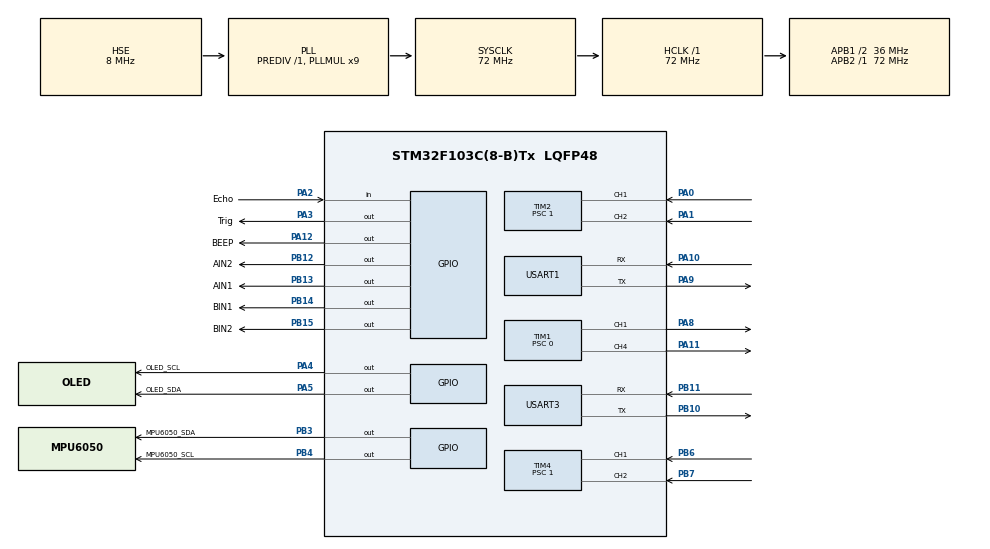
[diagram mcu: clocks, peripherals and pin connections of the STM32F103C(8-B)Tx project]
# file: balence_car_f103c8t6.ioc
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Mcu.Family=STM32F1
Mcu.Name=STM32F103C(8-B)Tx
Mcu.Package=LQFP48
NVIC.PriorityGroup=NVIC_PRIORITYGROUP_4
NVIC.TIM3_IRQn=true\:0\:0\:false\:false\:true\:true\:true
NVIC.USART3_IRQn=true\:0\:0\:false\:false\:true\:true\:true
PA0-WKUP.Signal=S_TIM2_CH1_ETR
PA1.Signal=S_TIM2_CH2
PA10.Mode=Asynchronous
PA10.Signal=USART1_RX
PA11.Signal=S_TIM1_CH4
PA12.GPIO_Label=BEEP
PA12.Signal=GPIO_Output
PA13.Mode=Serial_Wire
PA13.Signal=SYS_JTMS-SWDIO
PA14.Mode=Serial_Wire
PA14.Signal=SYS_JTCK-SWCLK
PA2.GPIO_Label=Echo
PA2.Signal=GPIO_Input
PA3.GPIO_Label=Trig
PA3.Signal=GPIO_Output
PA4.GPIO_Label=OLED_SCL
PA4.Signal=GPIO_Output
PA5.GPIO_Label=OLED_SDA
PA5.Signal=GPIO_Output
PA8.Signal=S_TIM1_CH1
PA9.Mode=Asynchronous
PA9.Signal=USART1_TX
PB10.Mode=Asynchronous
PB10.Signal=USART3_TX
PB11.Mode=Asynchronous
PB11.Signal=USART3_RX
PB12.GPIO_Label=AIN2
PB12.Signal=GPIO_Output
PB13.GPIO_Label=AIN1
PB13.Signal=GPIO_Output
PB14.GPIO_Label=BIN1
PB14.Signal=GPIO_Output
PB15.GPIO_Label=BIN2
PB15.Signal=GPIO_Output
PB3.GPIO_Label=MPU6050_SDA
PB3.GPIO_Speed=GPIO_SPEED_FREQ_HIGH
PB3.Signal=GPIO_Output
PB4.GPIO_Label=MPU6050_SCL
PB4.GPIO_Speed=GPIO_SPEED_FREQ_HIGH
PB4.Signal=GPIO_Output
PB6.Signal=S_TIM4_CH1
PB7.Signal=S_TIM4_CH2
PD0-OSC_IN.Mode=HSE-External-Oscillator
PD0-OSC_IN.Signal=RCC_OSC_IN
PD1-OSC_OUT.Mode=HSE-External-Oscillator
PD1-OSC_OUT.Signal=RCC_OSC_OUT
ProjectManager.HeapSize=0x200
ProjectManager.StackSize=0x400
ProjectManager.TargetToolchain=MDK-ARM V5.27
RCC.AHBFreq_Value=72000000
RCC.APB1CLKDivider=RCC_HCLK_DIV2
RCC.APB1Freq_Value=36000000
RCC.APB1TimFreq_Value=72000000
RCC.APB2Freq_Value=72000000
RCC.APB2TimFreq_Value=72000000
RCC.HCLKFreq_Value=72000000
RCC.PLLMUL=RCC_PLL_MUL9
RCC.PLLSourceVirtual=RCC_PLLSOURCE_HSE
RCC.SYSCLKFreq_VALUE=72000000
RCC.SYSCLKSource=RCC_SYSCLKSOURCE_PLLCLK
RCC.USBFreq_Value=72000000
SH.S_TIM1_CH1.0=TIM1_CH1,PWM Generation1 CH1
SH.S_TIM1_CH4.0=TIM1_CH4,PWM Generation4 CH4
SH.S_TIM2_CH1_ETR.0=TIM2_CH1,Encoder_Interface
SH.S_TIM2_CH2.0=TIM2_CH2,Encoder_Interface
SH.S_TIM4_CH1.0=TIM4_CH1,Encoder_Interface
SH.S_TIM4_CH2.0=TIM4_CH2,Encoder_Interface
TIM1.Channel-PWM\ Generation1\ CH1=TIM_CHANNEL_1
TIM1.Channel-PWM\ Generation4\ CH4=TIM_CHANNEL_4
TIM1.Period=7200-1
TIM1.Prescaler=0
TIM2.EncoderMode=TIM_ENCODERMODE_TI12
TIM2.IC1Filter=10
TIM2.IC2Filter=10
TIM2.Prescaler=1
TIM3.Period=1000-1
TIM3.Prescaler=72-1
TIM4.EncoderMode=TIM_ENCODERMODE_TI12
TIM4.IC1Filter=10
TIM4.IC2Filter=10
TIM4.Prescaler=1
USART1.VirtualMode=VM_ASYNC
USART3.VirtualMode=VM_ASYNC
VP_TIM3_VS_ClockSourceINT.Mode=Internal
board=custom

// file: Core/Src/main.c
/* USER CODE BEGIN Header */
/**
  ******************************************************************************
  * @file           : main.c
  * @brief          : Main program body
  ******************************************************************************
  * @attention
  *
  * <h2><center>&copy; Copyright (c) 2021 STMicroelectronics.
  * All rights reserved.</center></h2>
  *
  * This software component is licensed by ST under BSD 3-Clause license,
  * the "License"; You may not use this file except in compliance with the
  * License. You may obtain a copy of the License at:
  *                        opensource.org/licenses/BSD-3-Clause
  *
  ******************************************************************************
  */
/* USER CODE END Header */
#include "main.h"
#include "tim.h"
#include "usart.h"
#include "gpio.h"

/* USER CODE BEGIN PM */

/* MPU6050数据 */
float pitch,roll,yaw; 			/* 欧拉角 */
short aacx,aacy,aacz;				/* 加速度传感器原始数据 */
short gyrox,gyroy,gyroz;		/* 陀螺仪原始数据 */
short temperature;					/* 温度 */

/* 编码器的读数 */
int Left_encoder = 0;
int Right_encoder = 0;

/* 输出给电机的pwm值 */
int Moto1 = 0;
int Moto2 = 0;

/* 定义PID结构体 */
PID wPID;  /* 角速度环 */
PID vPID;  /* 速度环 */
PID aPID;  /* 角度环 */

/* 控制环输出 */
float vPIDOutput = 0;
float aPIDOutput = 0;
float wPIDOutput = 0;

float mechanicalZero = 0.0;

float Encoder_Least = 0;  /* 最新速度偏差 */
float Encoder = 0;  /* 速度值 */

/* USER CODE END PM */

/* USER CODE BEGIN PV */

void PIDInit(PID *pp);

double PID_W(PID *pp, double NextPoint);
double PID_V(PID *pp, double NextPoint);
double PID_A(PID *pp, double NextPoint);

/* USER CODE END PV */

void SystemClock_Config(void);

/* USER CODE BEGIN 0 */

/* printf重定向 */
int fputc(int ch, FILE *f)
{
	uint8_t temp[1] = {ch};
	HAL_UART_Transmit(&huart1, temp, 1, 2);/* huart1需要根据你的配置修改 */
	return ch;
}

/* USER CODE END 0 */

int main(void)
{

  /* MCU Configuration--------------------------------------------------------*/

  /* Reset of all peripherals, Initializes the Flash interface and the Systick. */
  HAL_Init();

  /* Configure the system clock */
  SystemClock_Config();

  /* Initialize all configured peripherals */
  MX_GPIO_Init();
  MX_USART1_UART_Init();
  MX_TIM1_Init();
  MX_TIM2_Init();
  MX_TIM3_Init();
  MX_TIM4_Init();
  MX_USART3_UART_Init();
  /* USER CODE BEGIN 2 */
	/* ************************************************初始化******************************************** */

	delay_init(72);  /* 初始化延时函数 */

	/* 初始化OLED */
	OLED_Init();
	OLED_Clear();
	oled_first_show();

	HAL_Delay(1);

	/* 初始化MPU6050 */
	printf("mpu6050\n");
	while(MPU_Init());

	HAL_TIM_Encoder_Start(&htim2, TIM_CHANNEL_ALL);  /* 启动编码器模式 */
	HAL_TIM_Encoder_Start(&htim4, TIM_CHANNEL_ALL);  /* 启动编码器模式 */

	HAL_TIM_PWM_Start(&htim1, TIM_CHANNEL_1);  /* 使能PWM */
	HAL_TIM_PWM_Start(&htim1, TIM_CHANNEL_4);  /* 使能PWM */
	__HAL_TIM_SET_COMPARE(&htim1, TIM_CHANNEL_1, 0);  /* 设定初始占空比 */
	__HAL_TIM_SET_COMPARE(&htim1, TIM_CHANNEL_4, 0);  /* 设定初始占空比 */

	/* 初始化PID */
	PIDInit(&aPID);  /* 角度环 PD控制 */
	aPID.Kp = 300;
	aPID.Kd = 1;
	aPID.SetPoint = 0;

	PIDInit(&wPID);  /* 角速度环 PI控制 */
	wPID.Kp = 1.5;
	wPID.Ki = wPID.Kp/200;
	wPID.SetPoint = 0;

	PIDInit(&vPID);  /* 速度环 PI控制 */
	vPID.Kp = 0;//0.05;
	vPID.Ki = vPID.Kp/200;
	vPID.SetPoint = 0;

	HAL_TIM_Base_Start_IT(&htim3);   /* 定时器3使能 */

	//Set_Pwm(1000, 1000);

	printf("init finished\n");

  /* USER CODE END 2 */

  /* Infinite loop */
  /* USER CODE BEGIN WHILE */
  while (1)
  {

		oled_show();
		delay_ms(1);

    /* USER CODE END WHILE */

  }
}

void SystemClock_Config(void)
{
  RCC_OscInitTypeDef RCC_OscInitStruct = {0};
  RCC_ClkInitTypeDef RCC_ClkInitStruct = {0};

  /** Initializes the RCC Oscillators according to the specified parameters
  * in the RCC_OscInitTypeDef structure.
  */
  RCC_OscInitStruct.OscillatorType = RCC_OSCILLATORTYPE_HSE;
  RCC_OscInitStruct.HSEState = RCC_HSE_ON;
  RCC_OscInitStruct.HSEPredivValue = RCC_HSE_PREDIV_DIV1;
  RCC_OscInitStruct.HSIState = RCC_HSI_ON;
  RCC_OscInitStruct.PLL.PLLState = RCC_PLL_ON;
  RCC_OscInitStruct.PLL.PLLSource = RCC_PLLSOURCE_HSE;
  RCC_OscInitStruct.PLL.PLLMUL = RCC_PLL_MUL9;
  if (HAL_RCC_OscConfig(&RCC_OscInitStruct) != HAL_OK)
  {
    Error_Handler();
  }
  /** Initializes the CPU, AHB and APB buses clocks
  */
  RCC_ClkInitStruct.ClockType = RCC_CLOCKTYPE_HCLK|RCC_CLOCKTYPE_SYSCLK
                              |RCC_CLOCKTYPE_PCLK1|RCC_CLOCKTYPE_PCLK2;
  RCC_ClkInitStruct.SYSCLKSource = RCC_SYSCLKSOURCE_PLLCLK;
  RCC_ClkInitStruct.AHBCLKDivider = RCC_SYSCLK_DIV1;
  RCC_ClkInitStruct.APB1CLKDivider = RCC_HCLK_DIV2;
  RCC_ClkInitStruct.APB2CLKDivider = RCC_HCLK_DIV1;

  if (HAL_RCC_ClockConfig(&RCC_ClkInitStruct, FLASH_LATENCY_2) != HAL_OK)
  {
    Error_Handler();
  }
}

/* USER CODE BEGIN 4 */

/* 时间标志 */
uint16_t tim_cnt_5 = 0;
uint16_t tim_cnt_10 = 0;
uint16_t tim_cnt_20 = 0;

/* 定时器中断回调函数 */
void HAL_TIM_PeriodElapsedCallback(TIM_HandleTypeDef *htim)
{
	if(htim == (&htim3)){
		tim_cnt_5++;
		tim_cnt_10++;
		tim_cnt_20++;

		/* 5ms 角速度环控制*/
		if(tim_cnt_5 >= 5) {
			tim_cnt_5 = 0;
			MPU_Get_Gyroscope(&gyrox,&gyroy,&gyroz);	/* 得到陀螺仪数据 */
			//printf("%d\n", gyroy);

			wPIDOutput = PID_W(&wPID, gyroy);
			Set_Pwm(wPIDOutput, wPIDOutput);  /* 将PWM输出给电机 */

			//printf("%f\n", wPIDOutput);
		}

		/* 10ms 角度环控制*/
		if(tim_cnt_10 >= 10) {
			tim_cnt_10 = 0;
			/* 获取欧拉角 */
			MPU_Get_Accelerometer(&aacx,&aacy,&aacz);	/* 得到加速度传感器数据 */
			MPU_Get_Gyroscope(&gyrox,&gyroy,&gyroz);	/* 得到陀螺仪数据 */
			IMU_quaterToEulerianAngles_mpu6050();  /* 获取欧拉角 */
			printf("%.2f,%.2f,%.2f\n", eulerAngle_mpu6050.pitch, eulerAngle_mpu6050.roll, eulerAngle_mpu6050.yaw);

			aPIDOutput = PID_A(&aPID, eulerAngle_mpu6050.pitch);

		}

		/* 20ms 速度环控制*/
		if(tim_cnt_20 >= 20) {
			tim_cnt_20 = 0;

			/* 获取转速 */
			Left_encoder = -Read_Encoder(4);
			Right_encoder = Read_Encoder(2);
			//printf("%d,%d\n", Left_encoder, Right_encoder);

			/* 对速度进行低通滤波 */
			Encoder_Least =(Left_encoder +  Right_encoder) - 0;   /* 获取最新速度偏差==测量速度（左右编码器之和）-目标速度（此处为零） */
			Encoder *= 0.8;  /* 一阶低通滤波器 */
			Encoder += Encoder_Least*0.2;

			vPIDOutput = PID_V(&vPID, Encoder);

		}
	}
}

/* USER CODE END 4 */

void Error_Handler(void)
{
  __disable_irq();
  while (1)
  {
  }
}

/************************ (C) COPYRIGHT STMicroelectronics *****END OF FILE****/
